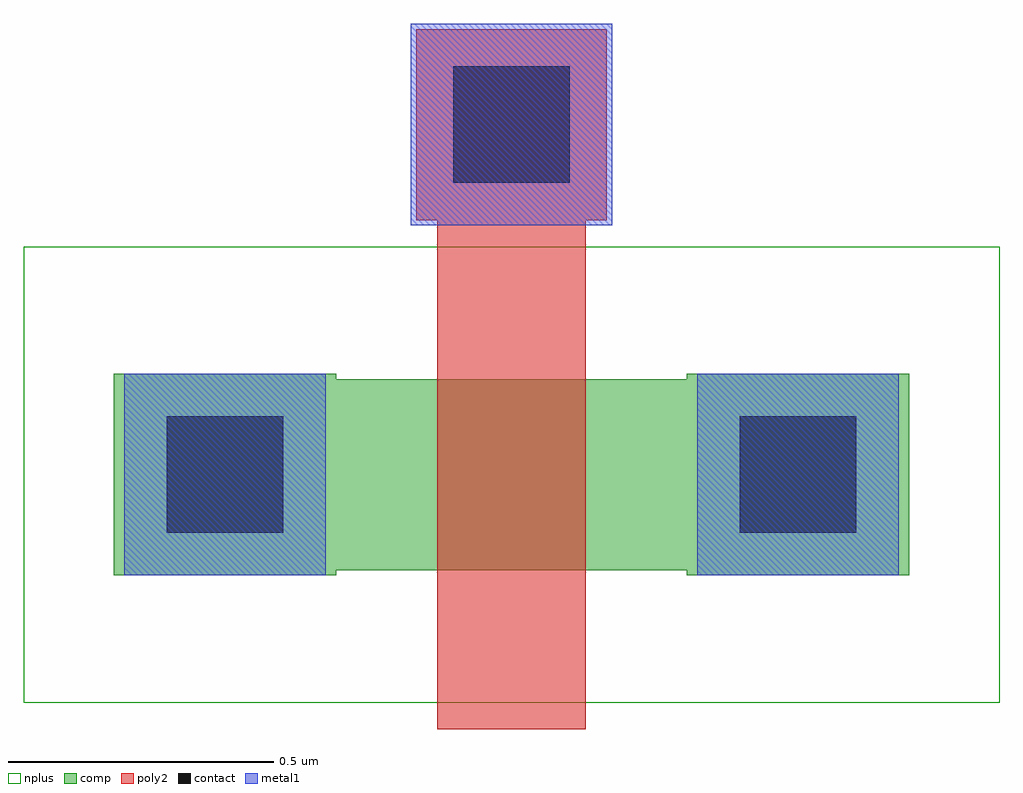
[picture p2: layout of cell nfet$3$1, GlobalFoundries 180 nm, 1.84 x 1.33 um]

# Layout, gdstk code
import gdstk
lib = gdstk.Library(unit=1e-6, precision=5e-09)
def R(c, l, rs):  # rectangles x0, y0, x1, y1
    for r in rs: c.add(gdstk.rectangle(r[:2], r[2:], *l))
comp = (22, 0)
poly2 = (30, 0)
nplus = (32, 0)
contact = (33, 0)
metal1 = (34, 0)

nfet_3_1 = lib.new_cell('nfet$3$1')
R(nfet_3_1, comp, [(-0.42,-0.01,0,0.37), (0.66,-0.01,1.08,0.37), (0,0,0.66,0.36)])
R(nfet_3_1, poly2, [(0.19,-0.3,0.47,0.66), (0.15,0.66,0.51,1.02)])
R(nfet_3_1, nplus, [(-0.59,-0.25,1.25,0.61)])
R(nfet_3_1, contact, [(-0.32,0.07,-0.1,0.29), (0.76,0.07,0.98,0.29), (0.22,0.73,0.44,0.95)])
R(nfet_3_1, metal1, [(-0.4,-0.01,-0.02,0.37), (0.68,-0.01,1.06,0.37), (0.14,0.65,0.52,1.03)])

lib.write_gds('nfet_3_1.gds')
